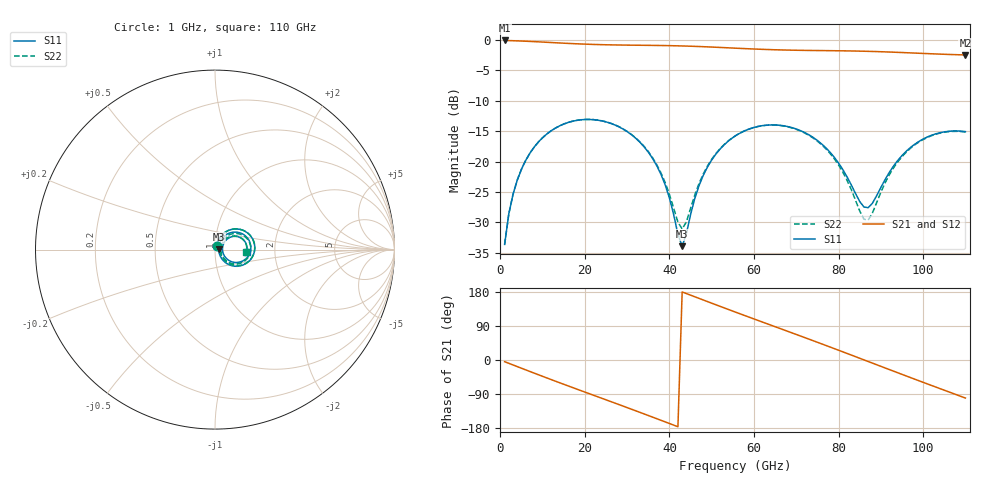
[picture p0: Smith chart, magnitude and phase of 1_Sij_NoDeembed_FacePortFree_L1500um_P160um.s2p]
! Touchstone file exported from HFSS 2024.2.0
!  File:  C:/Users/vaintrug/Documents/Ansoft_Workspace/Comparaison_Calculs_HFSS/1_VarPort.aedt
!  Generated:  03:22:16 PM Jan 21, 2025
!  Design:  1_NoDeembed_FacePortFree
!  Project:  1_VarPort
!  Setup:  Setup1
!  Solution:  Sweep
! Variables:
!  $Lenght = 1500um
!  $PortSize = 160um
!  Gap = 30um
!  Th = 2um
!  X_centralStrip = 20um
!  X_masse = 200um
!  Y_Sub = 1.5mm
!  Z_Box = 400um
!  Z_Sub = 200um
# GHz S MA R 50.000000
! Terminal data exported
! Port[1] = 1
! Port[2] = 2
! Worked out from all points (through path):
!   110 points, 1 GHz to 110 GHz, reference 50 ohm
!   highest |S21| = -0.10 dB at 1 GHz (marker M1); lowest = -2.5 dB at 110 GHz (marker M2)
!   group delay of S21, straight-line fit = 11.6 ps
!   lowest |S11| = -33.9 dB at 43 GHz (marker M3), VSWR 1.04, Z = 52.1 + j0.108 ohm
!   |S11| at or under -10 dB: start of sweep to end of sweep
!   |S22| runs from -33.6 to -13.1 dB; largest |S21 - S12| = 2e-15
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1  0.02089 62.7  0.9891 -4.4  0.9891 -4.4  0.02089 62.7
! Gamma 6.08667004676987 50.2671786720781 5.93169735105178 50.1346328643936
! Port Impedance 50 0 50 0
2  0.0373 69.5  0.9865 -8.8  0.9865 -8.8  0.0373 69.6
3  0.05404 69.9  0.984 -13.1  0.984 -13.1  0.05404 69.9
7  0.1175 58.3  0.9713 -30.4  0.9713 -30.4  0.1175 58.5
14  0.1965 31.1  0.9432 -60.0  0.9432 -60.0  0.1966 31.4
20  0.2218 7.7  0.9226 -84.7  0.9226 -84.7  0.222 8.2
29  0.1853 -26.0  0.9065 -121.6  0.9065 -121.6  0.186 -24.8
34  0.1322 -43.2  0.9026 -142.3  0.9026 -142.3  0.1334 -41.0
38  0.07843 -53.0  0.899 -159.2  0.899 -159.2  0.08068 -48.7
43  0.02021 2.9  0.8913 179.6  0.8913 179.6  0.02797 1.5
48  0.07721 57.1  0.879 158.3  0.879 158.3  0.0793 50.6
52  0.1272 47.5  0.8666 141.5  0.8666 141.5  0.1282 43.0
56  0.1661 34.5  0.8535 124.8  0.8535 124.8  0.1665 30.7
65  0.2001 3.4  0.8295 87.8  0.8295 87.8  0.1995 -0.0
74  0.1578 -25.6  0.8181 50.9  0.8181 50.9  0.1561 -29.8
80  0.09729 -38.0  0.8137 25.8  0.8137 25.8  0.09382 -44.1
86  0.04238 -7.6  0.8067 0.3  0.8067 0.3  0.03366 -11.6
88  0.04549 20.6  0.8033 -8.2  0.8033 -8.2  0.03778 25.1
92  0.08152 40.7  0.7947 -25.2  0.7947 -25.2  0.07786 44.8
96  0.1216 36.7  0.7845 -42.1  0.7845 -42.1  0.1195 38.8
101  0.1594 23.8  0.7712 -63.1  0.7712 -63.1  0.158 24.7
110  0.1763 -3.6  0.752 -100.4  0.752 -100.4  0.1751 -4.0
